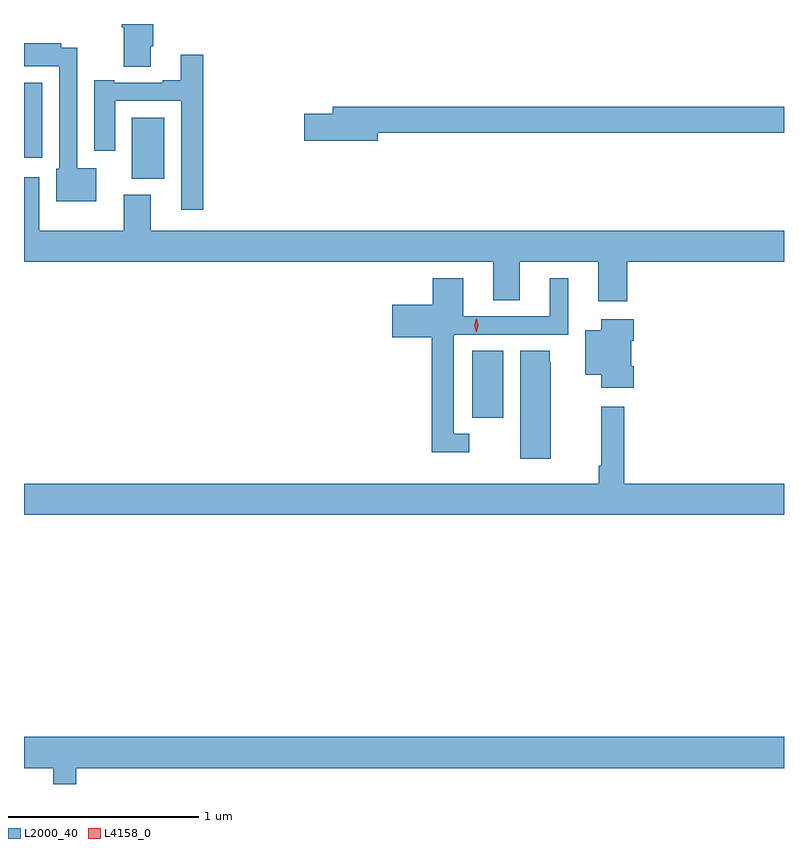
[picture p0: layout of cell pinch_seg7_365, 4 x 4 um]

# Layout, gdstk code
import gdstk
lib = gdstk.Library(unit=1e-6, precision=1e-09)
def R(c, l, rs):  # rectangles x0, y0, x1, y1
    for r in rs: c.add(gdstk.rectangle(r[:2], r[2:], *l))
def P(c, l, *ps):  # polygons
    for p in ps: c.add(gdstk.Polygon(p, *l))
L2000_40 = (2000, 40)
L4158_0 = (4158, 0)

pinch_seg7_365 = lib.new_cell('pinch_seg7_365')
R(pinch_seg7_365, L2000_40, [(377.786,1021.107,377.95,1021.46), (375.995,1022.366,376.165,1022.686), (375.427,1022.475,375.523,1022.872)])
P(pinch_seg7_365, L2000_40, [(376.093,1023.064),(376.106,1023.064),(376.106,1023.18),(375.941,1023.18),(375.941,1023.164),(375.953,1023.164),(375.953,1022.956),(376.093,1022.956)],
  [(375.808,1022.422),(375.708,1022.422),(375.708,1023.056),(375.624,1023.056),(375.624,1023.079),(375.427,1023.079),(375.427,1022.957),(375.515,1022.957),(375.515,1022.958),(375.612,1022.958),(375.612,1022.418),(375.596,1022.418),(375.596,1022.246),(375.808,1022.246)],
  [(376.37,1023.019),(376.253,1023.019),(376.253,1022.884),(376.157,1022.884),(376.157,1022.871),(375.901,1022.871),(375.901,1022.884),(375.797,1022.884),(375.797,1022.514),(375.907,1022.514),(375.907,1022.775),(376.254,1022.775),(376.254,1022.202),(376.37,1022.202)],
  [(377.29,1022.608),(379.427,1022.608),(379.427,1022.744),(377.051,1022.744),(377.051,1022.708),(376.902,1022.708),(376.902,1022.566),(377.29,1022.566)],
  [(376.093,1022.281),(375.953,1022.281),(375.953,1022.092),(375.508,1022.092),(375.508,1022.374),(375.427,1022.374),(375.427,1021.928),(377.897,1021.928),(377.897,1021.726),(378.037,1021.726),(378.037,1021.928),(378.449,1021.928),(378.449,1021.722),(378.602,1021.722),(378.602,1021.928),(379.427,1021.928),(379.427,1022.092),(376.093,1022.092)],
  [(377.77,1021.023),(377.688,1021.023),(377.688,1021.545),(378.292,1021.545),(378.292,1021.843),(378.194,1021.843),(378.194,1021.641),(377.74,1021.641),(377.74,1021.843),(377.579,1021.843),(377.579,1021.702),(377.364,1021.702),(377.364,1021.532),(377.572,1021.532),(377.572,1020.926),(377.77,1020.926)],
  [(378.635,1021.378),(378.622,1021.378),(378.622,1021.514),(378.635,1021.514),(378.635,1021.627),(378.464,1021.627),(378.464,1021.567),(378.38,1021.567),(378.38,1021.334),(378.464,1021.334),(378.464,1021.266),(378.635,1021.266)],
  [(378.199,1021.401),(378.193,1021.401),(378.193,1021.46),(378.038,1021.46),(378.038,1020.891),(378.199,1020.891)],
  [(379.427,1020.76),(378.587,1020.76),(378.587,1021.165),(378.466,1021.165),(378.466,1020.856),(378.451,1020.856),(378.451,1020.76),(375.427,1020.76),(375.427,1020.596),(379.427,1020.596)],
  [(375.703,1019.264),(379.427,1019.264),(379.427,1019.428),(375.427,1019.428),(375.427,1019.264),(375.581,1019.264),(375.581,1019.18),(375.703,1019.18)])
P(pinch_seg7_365, L4158_0, [(377.806,1021.558),(377.806,1021.558),(377.797,1021.594),(377.808,1021.629),(377.809,1021.629),(377.809,1021.629),(377.817,1021.593),(377.806,1021.558)])

lib.write_gds('pinch_seg7_365.gds')
